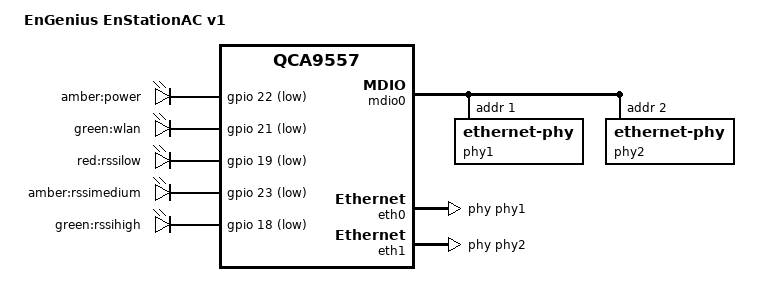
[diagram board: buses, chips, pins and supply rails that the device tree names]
// SPDX-License-Identifier: GPL-2.0-or-later OR MIT

#include "qca955x_senao_ap.dtsi"

/ {
	compatible = "engenius,enstationac-v1", "qca,qca9557";
	model = "EnGenius EnStationAC v1";

	leds {
		compatible = "gpio-leds";

		led_power: power {
			label = "amber:power";
			gpios = <&gpio 22 GPIO_ACTIVE_LOW>;
			default-state = "on";
		};

		wlan {
			label = "green:wlan";
			gpios = <&gpio 21 GPIO_ACTIVE_LOW>;
			linux,default-trigger = "phy0tpt";
		};

		rssilow {
			label = "red:rssilow";
			gpios = <&gpio 19 GPIO_ACTIVE_LOW>;
		};

		rssimedium {
			label = "amber:rssimedium";
			gpios = <&gpio 23 GPIO_ACTIVE_LOW>;
		};

		rssihigh {
			label = "green:rssihigh";
			gpios = <&gpio 18 GPIO_ACTIVE_LOW>;
		};
	};
};

&mdio0 {
	status = "okay";

	phy1: ethernet-phy@1 {
		reg = <1>;
		eee-broken-100tx;
		eee-broken-1000t;
	};

	phy2: ethernet-phy@2 {
		reg = <2>;
		eee-broken-100tx;
		eee-broken-1000t;
		at803x-override-sgmii-link-check;
	};
};

&eth0 {
	phy-handle = <&phy1>;
};

&eth1 {
	status = "okay";

	mtd-mac-address = <&art 0x0>;
	mtd-mac-address-increment = <1>;

	phy-handle = <&phy2>;

	pll-data = <0x03000000 0x00000101 0x00001313>;

	qca955x-sgmii-fixup;
};
